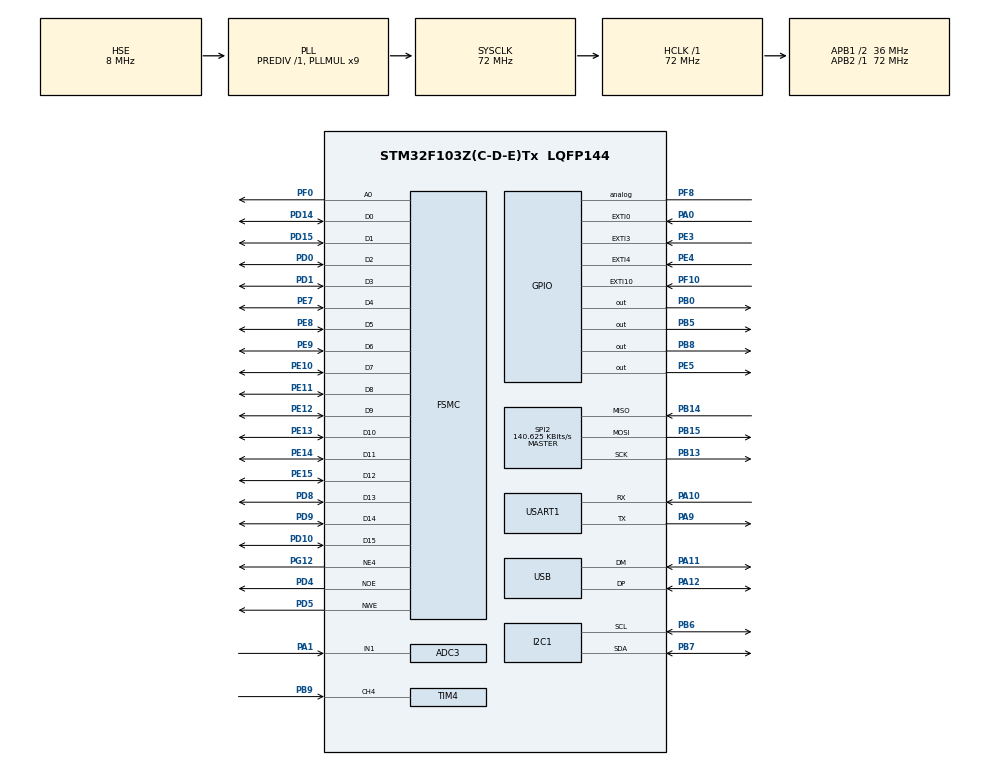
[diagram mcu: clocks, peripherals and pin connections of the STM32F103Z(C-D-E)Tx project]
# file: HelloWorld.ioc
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ADC1.Channel-5\#ChannelRegularConversion=ADC_CHANNEL_TEMPSENSOR
ADC1.NbrOfConversionFlag=1
ADC1.Rank-5\#ChannelRegularConversion=1
ADC1.SamplingTime-5\#ChannelRegularConversion=ADC_SAMPLETIME_1CYCLE_5
ADC1.master=1
ADC3.Channel-2\#ChannelRegularConversion=ADC_CHANNEL_1
ADC3.ContinuousConvMode=ENABLE
ADC3.NbrOfConversionFlag=1
ADC3.Rank-2\#ChannelRegularConversion=1
ADC3.SamplingTime-2\#ChannelRegularConversion=ADC_SAMPLETIME_1CYCLE_5
FATFS._FS_REENTRANT=0
FREERTOS.Tasks01=defaultTask,24,128,StartDefaultTask,Default,NULL,Dynamic,NULL,NULL
FREERTOS.configCHECK_FOR_STACK_OVERFLOW=2
FREERTOS.configTOTAL_HEAP_SIZE=32768
FREERTOS.configUSE_IDLE_HOOK=1
FREERTOS.configUSE_MALLOC_FAILED_HOOK=1
FREERTOS.configUSE_NEWLIB_REENTRANT=1
FREERTOS.configUSE_STATS_FORMATTING_FUNCTIONS=1
IWDG.Prescaler=IWDG_PRESCALER_256
IWDG.Reload=4095
Mcu.Family=STM32F1
Mcu.Name=STM32F103Z(C-D-E)Tx
Mcu.Package=LQFP144
NVIC.EXTI0_IRQn=true\:6\:0\:true\:false\:true\:true\:true\:true\:true
NVIC.EXTI15_10_IRQn=true\:6\:0\:true\:false\:true\:true\:true\:true\:true
NVIC.EXTI3_IRQn=true\:7\:0\:true\:false\:true\:true\:true\:true\:true
NVIC.EXTI4_IRQn=true\:8\:0\:true\:false\:true\:true\:true\:true\:true
NVIC.PriorityGroup=NVIC_PRIORITYGROUP_4
NVIC.TIM4_IRQn=true\:6\:0\:true\:false\:true\:true\:true\:true\:true
NVIC.TIM7_IRQn=true\:15\:0\:false\:false\:true\:false\:false\:true\:true
NVIC.TimeBase=TIM7_IRQn
NVIC.TimeBaseIP=TIM7
NVIC.USART1_IRQn=true\:8\:0\:true\:false\:true\:true\:true\:true\:true
NVIC.USB_LP_CAN1_RX0_IRQn=true\:5\:0\:false\:false\:true\:true\:false\:true\:true
OSC_IN.Mode=HSE-External-Oscillator
OSC_IN.Signal=RCC_OSC_IN
OSC_OUT.Mode=HSE-External-Oscillator
OSC_OUT.Signal=RCC_OSC_OUT
PA0-WKUP.GPIO_PuPd=GPIO_PULLDOWN
PA0-WKUP.Signal=GPXTI0
PA1.Signal=ADCx_IN1
PA10.Mode=Asynchronous
PA10.Signal=USART1_RX
PA11.Mode=Device
PA11.Signal=USB_DM
PA12.Mode=Device
PA12.Signal=USB_DP
PA13.Mode=JTAG_4_pins
PA13.Signal=SYS_JTMS-SWDIO
PA14.Mode=JTAG_4_pins
PA14.Signal=SYS_JTCK-SWCLK
PA15.Mode=JTAG_4_pins
PA15.Signal=SYS_JTDI
PA9.Mode=Asynchronous
PA9.Signal=USART1_TX
PB0.Signal=GPIO_Output
PB13.Mode=Full_Duplex_Master
PB13.Signal=SPI2_SCK
PB14.Mode=Full_Duplex_Master
PB14.Signal=SPI2_MISO
PB15.Mode=Full_Duplex_Master
PB15.Signal=SPI2_MOSI
PB3.Mode=JTAG_4_pins
PB3.Signal=SYS_JTDO-TRACESWO
PB5.Signal=GPIO_Output
PB6.Mode=I2C
PB6.Signal=I2C1_SCL
PB7.Mode=I2C
PB7.Signal=I2C1_SDA
PB8.Signal=GPIO_Output
PB9.GPIO_Mode=GPIO_MODE_INPUT
PB9.GPIO_PuPd=GPIO_PULLUP
PB9.Signal=S_TIM4_CH4
PC14-OSC32_IN.Mode=LSE-External-Oscillator
PC14-OSC32_IN.Signal=RCC_OSC32_IN
PC15-OSC32_OUT.Mode=LSE-External-Oscillator
PC15-OSC32_OUT.Signal=RCC_OSC32_OUT
PD0.Signal=FSMC_D2_DA2
PD1.Signal=FSMC_D3_DA3
PD10.Signal=FSMC_D15_DA15
PD14.Signal=FSMC_D0_DA0
PD15.Signal=FSMC_D1_DA1
PD4.Signal=FSMC_NOE
PD5.Signal=FSMC_NWE
PD8.Signal=FSMC_D13_DA13
PD9.Signal=FSMC_D14_DA14
PE10.Signal=FSMC_D7_DA7
PE11.Signal=FSMC_D8_DA8
PE12.Signal=FSMC_D9_DA9
PE13.Signal=FSMC_D10_DA10
PE14.Signal=FSMC_D11_DA11
PE15.Signal=FSMC_D12_DA12
PE3.GPIO_ModeDefaultEXTI=GPIO_MODE_IT_FALLING
PE3.GPIO_PuPd=GPIO_PULLUP
PE3.Signal=GPXTI3
PE4.GPIO_ModeDefaultEXTI=GPIO_MODE_IT_FALLING
PE4.GPIO_PuPd=GPIO_PULLUP
PE4.Signal=GPXTI4
PE5.Signal=GPIO_Output
PE7.Signal=FSMC_D4_DA4
PE8.Signal=FSMC_D5_DA5
PE9.Signal=FSMC_D6_DA6
PF0.Signal=FSMC_A0
PF10.GPIO_ModeDefaultEXTI=GPIO_MODE_IT_FALLING
PF10.GPIO_PuPd=GPIO_PULLUP
PF10.Signal=GPXTI10
PF8.Signal=GPIO_Analog
PG12.Mode=NorPsramChipSelect4_1
PG12.Signal=FSMC_NE4
ProjectManager.HeapSize=0x200
ProjectManager.StackSize=0x400
ProjectManager.TargetToolchain=STM32CubeIDE
RCC.ADCPresc=RCC_ADCPCLK2_DIV6
RCC.AHBFreq_Value=72000000
RCC.APB1CLKDivider=RCC_HCLK_DIV2
RCC.APB1Freq_Value=36000000
RCC.APB1TimFreq_Value=72000000
RCC.APB2Freq_Value=72000000
RCC.APB2TimFreq_Value=72000000
RCC.EnbaleCSS=true
RCC.HCLKFreq_Value=72000000
RCC.PLLMUL=RCC_PLL_MUL9
RCC.PLLSourceVirtual=RCC_PLLSOURCE_HSE
RCC.RTCClockSelection=RCC_RTCCLKSOURCE_LSE
RCC.SYSCLKFreq_VALUE=72000000
RCC.SYSCLKSource=RCC_SYSCLKSOURCE_PLLCLK
RCC.USBFreq_Value=48000000
RCC.USBPrescaler=RCC_USBCLKSOURCE_PLL_DIV1_5
RTC.Format=RTC_FORMAT_BIN
SH.ADCx_IN1.0=ADC3_IN1,IN1
SH.FSMC_A0.0=FSMC_A0,A0_1
SH.FSMC_D0_DA0.0=FSMC_D0,16b-d1
SH.FSMC_D10_DA10.0=FSMC_D10,16b-d1
SH.FSMC_D11_DA11.0=FSMC_D11,16b-d1
SH.FSMC_D12_DA12.0=FSMC_D12,16b-d1
SH.FSMC_D13_DA13.0=FSMC_D13,16b-d1
SH.FSMC_D14_DA14.0=FSMC_D14,16b-d1
SH.FSMC_D15_DA15.0=FSMC_D15,16b-d1
SH.FSMC_D1_DA1.0=FSMC_D1,16b-d1
SH.FSMC_D2_DA2.0=FSMC_D2,16b-d1
SH.FSMC_D3_DA3.0=FSMC_D3,16b-d1
SH.FSMC_D4_DA4.0=FSMC_D4,16b-d1
SH.FSMC_D5_DA5.0=FSMC_D5,16b-d1
SH.FSMC_D6_DA6.0=FSMC_D6,16b-d1
SH.FSMC_D7_DA7.0=FSMC_D7,16b-d1
SH.FSMC_D8_DA8.0=FSMC_D8,16b-d1
SH.FSMC_D9_DA9.0=FSMC_D9,16b-d1
SH.FSMC_NOE.0=FSMC_NOE,Lcd1
SH.FSMC_NWE.0=FSMC_NWE,Lcd1
SH.S_TIM4_CH4.0=TIM4_CH4,Input_Capture4_from_TI4
SPI2.BaudRatePrescaler=SPI_BAUDRATEPRESCALER_256
SPI2.CLKPhase=SPI_PHASE_2EDGE
SPI2.CLKPolarity=SPI_POLARITY_HIGH
SPI2.CRCCalculation=SPI_CRCCALCULATION_DISABLE
SPI2.CalculateBaudRate=140.625 KBits/s
SPI2.Direction=SPI_DIRECTION_2LINES
SPI2.Mode=SPI_MODE_MASTER
SPI2.VirtualType=VM_MASTER
TIM2.Prescaler=72 - 1
TIM4.AutoReloadPreload=TIM_AUTORELOAD_PRELOAD_DISABLE
TIM4.Channel-Input_Capture4_from_TI4=TIM_CHANNEL_4
TIM4.ICFilter_CH4=0x03
TIM4.Period=10000
TIM4.Prescaler=72 - 1
USART1.Parity=PARITY_NONE
USART1.VirtualMode=VM_ASYNC
USART1.WordLength=WORDLENGTH_8B
USB_DEVICE.CLASS_NAME_FS=MSC
USB_DEVICE.PRODUCT_STRING_MSC_FS=STM32 Mass Storage
USB_DEVICE.USBD_DEBUG_LEVEL=0
USB_DEVICE.VirtualMode=Msc
USB_DEVICE.VirtualModeFS=Msc_FS
VP_ADC1_TempSens_Input.Mode=IN-TempSens
VP_FATFS_VS_Generic.Mode=User_defined
VP_FREERTOS_VS_CMSIS_V2.Mode=CMSIS_V2
VP_IWDG_VS_IWDG.Mode=IWDG_Activate
VP_RTC_VS_RTC_Activate.Mode=RTC_Enabled
VP_SYS_VS_tim7.Mode=TIM7
VP_TIM2_VS_ClockSourceINT.Mode=Internal
VP_TIM4_VS_ClockSourceINT.Mode=Internal
VP_USB_DEVICE_VS_USB_DEVICE_MSC_FS.Mode=MSC_FS
board=custom

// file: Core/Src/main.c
/* USER CODE BEGIN Header */
/**
 ******************************************************************************
 * @file           : main.c
 * @brief          : Main program body
 ******************************************************************************
 * @attention
 *
 * Copyright (c) 2025 STMicroelectronics.
 * All rights reserved.
 *
 * This software is licensed under terms that can be found in the LICENSE file
 * in the root directory of this software component.
 * If no LICENSE file comes with this software, it is provided AS-IS.
 *
 ******************************************************************************
 */
/* USER CODE END Header */
#include "main.h"
#include "cmsis_os.h"
#include "fatfs.h"
#include "usb_device.h"

/* USER CODE BEGIN Includes */
#include "FreeRTOS.h"
#include "task.h"
#include "cmsis_os.h"
/* USER CODE END Includes */

/* USER CODE BEGIN PTD */
typedef enum {
	LED_OFF, LED_ON, LED_BLINK
} LedMode_t;

volatile LedMode_t led_mode = LED_OFF;
uint32_t last_tick = 0;

extern uint8_t g_remote_sta;

osTimerId_t timer_id;
osTimerAttr_t timer_attr = {
  .name = "myTimer"
};
osThreadId_t timerCommandTaskHandle; // 处理定时器命令的任务句柄

// 定时器回调函数
void TimerCallback(void *argument) {
  HAL_GPIO_TogglePin(GPIOE, GPIO_PIN_5);
}

uint32_t last_debounce_time = 0;

/* USER CODE END PTD */

/* USER CODE BEGIN PD */
#define LED_PIN GPIO_PIN_5      // PE5 (用户控制LED)
#define LED_PORT GPIOE
#define BTN_PIN1 GPIO_PIN_3     // PE3 (按键1)
#define BTN_PIN2 GPIO_PIN_4     // PE4 (按键2)
#define BTN_PORT GPIOE

#define BTN_PIN0 GPIO_PIN_0     // PA0 (按键0)
#define BTN_PORT0 GPIOA

#define PB5_LED_PIN GPIO_PIN_5  // PB5 (�??????机常亮LED)
#define PB5_LED_PORT GPIOB
#define BEEP_PIN GPIO_PIN_8
#define BEEP_PORT GPIOB
#define BEEP_SHORT_BEEP_TIME 100  // 蜂鸣时长(ms)

/* USER CODE END PD */

/* USER CODE BEGIN PM */
extern osThreadId_t remoteTaskHandle;
extern const osThreadAttr_t remoteTask_attributes;

extern osThreadId_t dogTaskHandle;
extern const osThreadAttr_t dogTask_attributes;

extern osThreadId_t infoTaskHandle;
extern const osThreadAttr_t infoTask_attributes;

extern osThreadId_t touchTaskHandle;
extern const osThreadAttr_t touchTask_attributes;

extern osThreadId_t uartTaskHandle;
extern const osThreadAttr_t uartTask_attributes;

extern osThreadId_t saveTaskHandle;
extern const osThreadAttr_t saveTask_attributes;

extern osThreadId_t monitorTaskHandle;
extern const osThreadAttr_t monitorTask_attributes;

extern osThreadId_t idleTaskHandle;
extern const osThreadAttr_t idleTask_attributes;

extern uint8_t tx_e3;
extern uint8_t tx_e4;
extern uint8_t tx_a0;
extern volatile uint8_t tx_request_byte;

extern uint8_t close_red;  // 改为全局变量
extern char strrand[16];

extern void dogTask(void *argument);
extern void infoTask(void *argument);
extern void touchTask(void *argument);
extern void uartTask(void *argument);
extern void RemoteTask(void *argument);
extern void Set_RTC_DateTime(uint8_t year, uint8_t month, uint8_t day,
		uint8_t hour, uint8_t minute, uint8_t second);
extern void Get_RTC_DateTime(uint8_t *year, uint8_t *month, uint8_t *day,
		uint8_t *hour, uint8_t *minute, uint8_t *second);
extern void saveTask(void *argument);
extern void monitorTask(void *argument);
extern void IdleSimTask(void *argument);
extern osMessageQueueId_t uartQueue;
extern osSemaphoreId_t remoteSemaphore;
extern osSemaphoreId_t touchSem;
extern volatile uint8_t adc_data_ready;
/* USER CODE END PM */

ADC_HandleTypeDef hadc1;
ADC_HandleTypeDef hadc3;

I2C_HandleTypeDef hi2c1;

IWDG_HandleTypeDef hiwdg;

RTC_HandleTypeDef hrtc;

SPI_HandleTypeDef hspi2;

TIM_HandleTypeDef htim2;
TIM_HandleTypeDef htim4;

UART_HandleTypeDef huart1;

SRAM_HandleTypeDef hsram1;

/* Definitions for defaultTask */
osThreadId_t defaultTaskHandle;
const osThreadAttr_t defaultTask_attributes = {
  .name = "defaultTask",
  .stack_size = 128 * 4,
  .priority = (osPriority_t) osPriorityNormal,
};

void SystemClock_Config(void);
static void MX_GPIO_Init(void);
static void MX_RTC_Init(void);
static void MX_USART1_UART_Init(void);
static void MX_FSMC_Init(void);
static void MX_IWDG_Init(void);
static void MX_ADC3_Init(void);
static void MX_I2C1_Init(void);
static void MX_SPI2_Init(void);
static void MX_TIM4_Init(void);
static void MX_TIM2_Init(void);
static void MX_ADC1_Init(void);
void StartDefaultTask(void *argument);

/* USER CODE BEGIN PFP */
void WHIRLPOOL_add(const unsigned char *source, unsigned __int32 sourceBytes,
		WHIRLPOOL_CTX *const ctx);
void WHIRLPOOL_finalize(WHIRLPOOL_CTX *const ctx, unsigned char *result);
void WHIRLPOOL_init(WHIRLPOOL_CTX *const ctx);

/* USER CODE END PFP */

/* USER CODE BEGIN 0 */
#include "FreeRTOS.h"
#include "task.h"

void display_ram_info(void) {
	// 获取当前空闲堆内存
	size_t free_heap = xPortGetFreeHeapSize();

	// 获取历史最小空闲堆内存（需要configUSE_MALLOC_FAILED_HOOK=1）
	// size_t min_ever_free_heap = xPortGetMinimumEverFreeHeapSize();

	char lcd_buffer[64];
	sprintf(lcd_buffer, "Heap:%lu/%lu bytes", (unsigned long) free_heap,
			(unsigned long) configTOTAL_HEAP_SIZE);

	taskENTER_CRITICAL();
	lcd_show_string(10, 150, 240, 16, 16, lcd_buffer, RED);
	taskEXIT_CRITICAL();
}
void generate_random_string(char *buf, int len) {
	for (int i = 0; i < len; i++) {
		buf[i] = (rand() % (0x7E - 0x21 + 1)) + 0x21; // 可打印ASCII
	}
	buf[len] = '\0'; // 字符串结束符
}

// 在合适的位置添加中断处理函数

void HAL_GPIO_EXTI_Callback(uint16_t GPIO_Pin) {
	static uint32_t last_debounce_time = 0;
	uint32_t current_tick = HAL_GetTick();

	// 处理触摸屏 PEN（不防抖）
	if (GPIO_Pin == GPIO_PIN_10)  // PF10
	{
		BaseType_t xHigherPriorityTaskWoken = pdFALSE;
		osSemaphoreRelease(touchSem);   // 通知任务去处理触摸
		portYIELD_FROM_ISR(xHigherPriorityTaskWoken);
		return; // 触摸屏处理完成，直接返回
	}

	// 处理按钮（带防抖）
	if ((current_tick - last_debounce_time) > 150)  // 防抖
			{
		last_debounce_time = current_tick;

		if (GPIO_Pin == BTN_PIN1) {
			uart_msg_t msg = { 1, 0xE3 }; // type=1表示TX
			osThreadFlagsSet(timerCommandTaskHandle, 0x0001);
			osMessageQueuePut(uartQueue, &msg, 0, 0);

			if (led_mode != LED_ON) {
				led_mode = LED_ON;
				HAL_GPIO_WritePin(LED_PORT, LED_PIN, GPIO_PIN_SET);
			} else {
				led_mode = LED_OFF;
				HAL_GPIO_WritePin(LED_PORT, LED_PIN, GPIO_PIN_RESET);
			}
		} else if (GPIO_Pin == BTN_PIN2) {
			uart_msg_t msg = { 1, 0xE4 };
			osThreadFlagsSet(timerCommandTaskHandle, 0x0001);
			osMessageQueuePut(uartQueue, &msg, 0, 0);
			led_mode = LED_BLINK;
		} else if (GPIO_Pin == BTN_PIN0) {
			uart_msg_t msg = { 1, 0xA0 };
			osMessageQueuePut(uartQueue, &msg, 0, 0);
			HAL_GPIO_TogglePin(GPIOB, GPIO_PIN_0);
		}
	}
}

// 添加UART接收完成回调
void HAL_UART_RxCpltCallback(UART_HandleTypeDef *huart) {
	if (huart->Instance == USART1) {
		uart_msg_t msg = { 0, close_red }; // type=0表示RX
		osMessageQueuePut(uartQueue, &msg, 0, 0);
		HAL_UART_Receive_IT(&huart1, &close_red, 1);
	}
}
#include "stdarg.h"
void uart_printf(const char *fmt, ...)
{
    char buffer[128];
    va_list args;
    va_start(args, fmt);
    int len = vsnprintf(buffer, sizeof(buffer), fmt, args);
    va_end(args);

    if (len > 0)
    {
        HAL_UART_Transmit(&huart1, (uint8_t*)buffer, len, HAL_MAX_DELAY);
    }
}

void rtc_write_bkr(uint32_t bkrx, uint16_t data) {
	HAL_PWR_EnableBkUpAccess();
	HAL_RTCEx_BKUPWrite(&hrtc, bkrx, data);
}

uint16_t rtc_read_bkr(uint32_t bkrx) {
	HAL_PWR_EnableBkUpAccess();
	uint32_t temp = 0;
	temp = HAL_RTCEx_BKUPRead(&hrtc, bkrx);
	return (uint16_t) temp;
}

/* USER CODE END 0 */

int main(void)
{

  /* USER CODE BEGIN 1 */
	SCB->VTOR = 0x08020000;
	uint8_t lcd_id[12];

  /* USER CODE END 1 */

  /* MCU Configuration--------------------------------------------------------*/

  /* Reset of all peripherals, Initializes the Flash interface and the Systick. */
  HAL_Init();

  /* Configure the system clock */
  SystemClock_Config();

  /* Initialize all configured peripherals */
  MX_GPIO_Init();
  MX_RTC_Init();
  MX_USART1_UART_Init();
  MX_FSMC_Init();
  MX_IWDG_Init();
  MX_ADC3_Init();
  MX_I2C1_Init();
  MX_SPI2_Init();
  MX_TIM4_Init();
  MX_TIM2_Init();
  MX_ADC1_Init();
  MX_FATFS_Init();
  /* USER CODE BEGIN 2 */
	//rtc_write_bkr(1, 17134);

	uint16_t rtc1data = rtc_read_bkr(1);
	lcd_init();
	at24cxx_init();
	norflash_init();
	const uint8_t g_text_buf[] = { "It's a good sloth!" };
#define TEXT_SIZE       sizeof(g_text_buf)
	uint8_t datatemp[TEXT_SIZE];

	//srand(TIM2->CNT);
	Set_RTC_DateTime(0x37, 8, 0x0c, 0x13, 0x0d, 0x1e);

	g_point_color = BLUE;
	sprintf((char*) lcd_id, "LCD ID:%04X", lcddev.id); /* ½«LCD ID´òÓ¡µ½lcd_idÊý×é */
	lcd_clear(BLUE);
	lcd_show_num(120, 10, rtc1data, 5, 16, YELLOW);
	//lcd_show_string(10, 130, 240, 16, 16, (char *)lcd_id, RED); /* ÏÔÊ¾LCD ID */
	lcd_show_string(10, 190, 240, 16, 16, "LSENS VAL:", BLUE);
	HAL_IWDG_Refresh(&hiwdg);

	//lcd_show_string(10, 210, 200, 16, 16, "Start Write....", RED);
	//at24cxx_write(0, (uint8_t *)g_text_buf, TEXT_SIZE);

	//lcd_show_string(10, 210, 200, 16, 16, "24C02 Write Finished!", RED);   /* ÌáÊ¾´«ËÍÍê³É */

	at24cxx_read(0, datatemp, TEXT_SIZE);
	lcd_show_string(10, 230, 200, 16, 16, "EEPROM Data Readed Is:", RED);
	lcd_show_string(10, 250, 200, 16, 16, (char*) datatemp, RED);

	HAL_IWDG_Refresh(&hiwdg);

	tp_dev.init();
  /* USER CODE END 2 */

  /* Init scheduler */
  osKernelInitialize();

  /* USER CODE BEGIN RTOS_SEMAPHORES */
	/* add semaphores, ... */
	remoteSemaphore = osSemaphoreNew(1, 0, NULL);
	touchSem = osSemaphoreNew(1, 0, NULL);
  /* USER CODE END RTOS_SEMAPHORES */

  /* USER CODE BEGIN RTOS_TIMERS */
	 timer_id = osTimerNew(TimerCallback, osTimerPeriodic, NULL, &timer_attr);
	 osTimerStart(timer_id, 500);
	/* start timers, add new ones, ... */
  /* USER CODE END RTOS_TIMERS */

  /* USER CODE BEGIN RTOS_QUEUES */
	/* add queues, ... */
	uartQueue = osMessageQueueNew(10, sizeof(uart_msg_t), NULL);

  /* USER CODE END RTOS_QUEUES */

  /* Create the thread(s) */
  /* creation of defaultTask */
  defaultTaskHandle = osThreadNew(StartDefaultTask, NULL, &defaultTask_attributes);

  /* USER CODE BEGIN RTOS_THREADS */
	/* add threads, ... */
	dogTaskHandle = osThreadNew(dogTask, NULL, &dogTask_attributes);
	remoteTaskHandle = osThreadNew(RemoteTask, NULL, &remoteTask_attributes);
	infoTaskHandle = osThreadNew(infoTask, NULL, &infoTask_attributes);
	touchTaskHandle = osThreadNew(touchTask, NULL, &touchTask_attributes);
	uartTaskHandle = osThreadNew(uartTask, NULL, &uartTask_attributes);
	saveTaskHandle = osThreadNew(saveTask, NULL, &saveTask_attributes);
	monitorTaskHandle = osThreadNew(monitorTask, NULL, &monitorTask_attributes);
	//idleTaskHandle = osThreadNew(IdleSimTask, NULL, &monitorTask_attributes);

  /* USER CODE END RTOS_THREADS */

  /* Start scheduler */
  osKernelStart();

  /* We should never get here as control is now taken by the scheduler */

  /* Infinite loop */
	while (1) {

	}
}

void SystemClock_Config(void)
{
  RCC_OscInitTypeDef RCC_OscInitStruct = {0};
  RCC_ClkInitTypeDef RCC_ClkInitStruct = {0};
  RCC_PeriphCLKInitTypeDef PeriphClkInit = {0};

  /** Initializes the RCC Oscillators according to the specified parameters
  * in the RCC_OscInitTypeDef structure.
  */
  RCC_OscInitStruct.OscillatorType = RCC_OSCILLATORTYPE_LSI|RCC_OSCILLATORTYPE_HSE
                              |RCC_OSCILLATORTYPE_LSE;
  RCC_OscInitStruct.HSEState = RCC_HSE_ON;
  RCC_OscInitStruct.HSEPredivValue = RCC_HSE_PREDIV_DIV1;
  RCC_OscInitStruct.LSEState = RCC_LSE_ON;
  RCC_OscInitStruct.HSIState = RCC_HSI_ON;
  RCC_OscInitStruct.LSIState = RCC_LSI_ON;
  RCC_OscInitStruct.PLL.PLLState = RCC_PLL_ON;
  RCC_OscInitStruct.PLL.PLLSource = RCC_PLLSOURCE_HSE;
  RCC_OscInitStruct.PLL.PLLMUL = RCC_PLL_MUL9;
  if (HAL_RCC_OscConfig(&RCC_OscInitStruct) != HAL_OK)
  {
    Error_Handler();
  }

  /** Initializes the CPU, AHB and APB buses clocks
  */
  RCC_ClkInitStruct.ClockType = RCC_CLOCKTYPE_HCLK|RCC_CLOCKTYPE_SYSCLK
                              |RCC_CLOCKTYPE_PCLK1|RCC_CLOCKTYPE_PCLK2;
  RCC_ClkInitStruct.SYSCLKSource = RCC_SYSCLKSOURCE_PLLCLK;
  RCC_ClkInitStruct.AHBCLKDivider = RCC_SYSCLK_DIV1;
  RCC_ClkInitStruct.APB1CLKDivider = RCC_HCLK_DIV2;
  RCC_ClkInitStruct.APB2CLKDivider = RCC_HCLK_DIV1;

  if (HAL_RCC_ClockConfig(&RCC_ClkInitStruct, FLASH_LATENCY_2) != HAL_OK)
  {
    Error_Handler();
  }
  PeriphClkInit.PeriphClockSelection = RCC_PERIPHCLK_RTC|RCC_PERIPHCLK_ADC
                              |RCC_PERIPHCLK_USB;
  PeriphClkInit.RTCClockSelection = RCC_RTCCLKSOURCE_LSE;
  PeriphClkInit.AdcClockSelection = RCC_ADCPCLK2_DIV6;
  PeriphClkInit.UsbClockSelection = RCC_USBCLKSOURCE_PLL_DIV1_5;
  if (HAL_RCCEx_PeriphCLKConfig(&PeriphClkInit) != HAL_OK)
  {
    Error_Handler();
  }

  /** Enables the Clock Security System
  */
  HAL_RCC_EnableCSS();
}

static void MX_ADC1_Init(void)
{

  ADC_ChannelConfTypeDef sConfig = {0};

  /** Common config
  */
  hadc1.Instance = ADC1;
  hadc1.Init.ScanConvMode = ADC_SCAN_DISABLE;
  hadc1.Init.ContinuousConvMode = DISABLE;
  hadc1.Init.DiscontinuousConvMode = DISABLE;
  hadc1.Init.ExternalTrigConv = ADC_SOFTWARE_START;
  hadc1.Init.DataAlign = ADC_DATAALIGN_RIGHT;
  hadc1.Init.NbrOfConversion = 1;
  if (HAL_ADC_Init(&hadc1) != HAL_OK)
  {
    Error_Handler();
  }

  /** Configure Regular Channel
  */
  sConfig.Channel = ADC_CHANNEL_TEMPSENSOR;
  sConfig.Rank = ADC_REGULAR_RANK_1;
  sConfig.SamplingTime = ADC_SAMPLETIME_1CYCLE_5;
  if (HAL_ADC_ConfigChannel(&hadc1, &sConfig) != HAL_OK)
  {
    Error_Handler();
  }
  /* USER CODE BEGIN ADC1_Init 2 */
	//ADC->CCR |= ADC_CCR_TSVREFE;
  /* USER CODE END ADC1_Init 2 */

}

static void MX_ADC3_Init(void)
{

  ADC_ChannelConfTypeDef sConfig = {0};

  /** Common config
  */
  hadc3.Instance = ADC3;
  hadc3.Init.ScanConvMode = ADC_SCAN_DISABLE;
  hadc3.Init.ContinuousConvMode = ENABLE;
  hadc3.Init.DiscontinuousConvMode = DISABLE;
  hadc3.Init.ExternalTrigConv = ADC_SOFTWARE_START;
  hadc3.Init.DataAlign = ADC_DATAALIGN_RIGHT;
  hadc3.Init.NbrOfConversion = 1;
  if (HAL_ADC_Init(&hadc3) != HAL_OK)
  {
    Error_Handler();
  }

  /** Configure Regular Channel
  */
  sConfig.Channel = ADC_CHANNEL_1;
  sConfig.Rank = ADC_REGULAR_RANK_1;
  sConfig.SamplingTime = ADC_SAMPLETIME_1CYCLE_5;
  if (HAL_ADC_ConfigChannel(&hadc3, &sConfig) != HAL_OK)
  {
    Error_Handler();
  }

}

static void MX_I2C1_Init(void)
{

  hi2c1.Instance = I2C1;
  hi2c1.Init.ClockSpeed = 100000;
  hi2c1.Init.DutyCycle = I2C_DUTYCYCLE_2;
  hi2c1.Init.OwnAddress1 = 0;
  hi2c1.Init.AddressingMode = I2C_ADDRESSINGMODE_7BIT;
  hi2c1.Init.DualAddressMode = I2C_DUALADDRESS_DISABLE;
  hi2c1.Init.OwnAddress2 = 0;
  hi2c1.Init.GeneralCallMode = I2C_GENERALCALL_DISABLE;
  hi2c1.Init.NoStretchMode = I2C_NOSTRETCH_DISABLE;
  if (HAL_I2C_Init(&hi2c1) != HAL_OK)
  {
    Error_Handler();
  }
  /* USER CODE BEGIN I2C1_Init 2 */
  /* USER CODE BEGIN I2C1_Init 2 */
  // 强制启用I2C中断
  /* USER CODE END I2C1_Init 2 */

}

static void MX_IWDG_Init(void)
{

  hiwdg.Instance = IWDG;
  hiwdg.Init.Prescaler = IWDG_PRESCALER_256;
  hiwdg.Init.Reload = 4095;
  if (HAL_IWDG_Init(&hiwdg) != HAL_OK)
  {
    Error_Handler();
  }

}

static void MX_RTC_Init(void)
{

  /** Initialize RTC Only
  */
  hrtc.Instance = RTC;
  hrtc.Init.AsynchPrediv = RTC_AUTO_1_SECOND;
  hrtc.Init.OutPut = RTC_OUTPUTSOURCE_ALARM;
  if (HAL_RTC_Init(&hrtc) != HAL_OK)
  {
    Error_Handler();
  }

}

static void MX_SPI2_Init(void)
{

  /* SPI2 parameter configuration*/
  hspi2.Instance = SPI2;
  hspi2.Init.Mode = SPI_MODE_MASTER;
  hspi2.Init.Direction = SPI_DIRECTION_2LINES;
  hspi2.Init.DataSize = SPI_DATASIZE_8BIT;
  hspi2.Init.CLKPolarity = SPI_POLARITY_HIGH;
  hspi2.Init.CLKPhase = SPI_PHASE_2EDGE;
  hspi2.Init.NSS = SPI_NSS_SOFT;
  hspi2.Init.BaudRatePrescaler = SPI_BAUDRATEPRESCALER_256;
  hspi2.Init.FirstBit = SPI_FIRSTBIT_MSB;
  hspi2.Init.TIMode = SPI_TIMODE_DISABLE;
  hspi2.Init.CRCCalculation = SPI_CRCCALCULATION_DISABLE;
  hspi2.Init.CRCPolynomial = 10;
  if (HAL_SPI_Init(&hspi2) != HAL_OK)
  {
    Error_Handler();
  }

}

static void MX_TIM2_Init(void)
{

  TIM_ClockConfigTypeDef sClockSourceConfig = {0};
  TIM_MasterConfigTypeDef sMasterConfig = {0};

  htim2.Instance = TIM2;
  htim2.Init.Prescaler = 72 - 1;
  htim2.Init.CounterMode = TIM_COUNTERMODE_UP;
  htim2.Init.Period = 65535;
  htim2.Init.ClockDivision = TIM_CLOCKDIVISION_DIV1;
  htim2.Init.AutoReloadPreload = TIM_AUTORELOAD_PRELOAD_DISABLE;
  if (HAL_TIM_Base_Init(&htim2) != HAL_OK)
  {
    Error_Handler();
  }
  sClockSourceConfig.ClockSource = TIM_CLOCKSOURCE_INTERNAL;
  if (HAL_TIM_ConfigClockSource(&htim2, &sClockSourceConfig) != HAL_OK)
  {
    Error_Handler();
  }
  sMasterConfig.MasterOutputTrigger = TIM_TRGO_RESET;
  sMasterConfig.MasterSlaveMode = TIM_MASTERSLAVEMODE_DISABLE;
  if (HAL_TIMEx_MasterConfigSynchronization(&htim2, &sMasterConfig) != HAL_OK)
  {
    Error_Handler();
  }
  /* USER CODE BEGIN TIM2_Init 2 */
	__HAL_RCC_TIM2_CLK_ENABLE();

	//TIM_HandleTypeDef htim2;
	htim2.Instance = TIM2;
	htim2.Init.Prescaler = 72 - 1;  // 1 MHz, 1 us per tick
	htim2.Init.CounterMode = TIM_COUNTERMODE_UP;
	htim2.Init.Period = 0xFFFF;
	htim2.Init.ClockDivision = TIM_CLOCKDIVISION_DIV1;
	HAL_TIM_Base_Init(&htim2);

	HAL_TIM_Base_Start(&htim2);

  /* USER CODE END TIM2_Init 2 */

}

static void MX_TIM4_Init(void)
{

  TIM_ClockConfigTypeDef sClockSourceConfig = {0};
  TIM_MasterConfigTypeDef sMasterConfig = {0};
  TIM_IC_InitTypeDef sConfigIC = {0};

  htim4.Instance = TIM4;
  htim4.Init.Prescaler = 72 - 1;
  htim4.Init.CounterMode = TIM_COUNTERMODE_UP;
  htim4.Init.Period = 10000;
  htim4.Init.ClockDivision = TIM_CLOCKDIVISION_DIV1;
  htim4.Init.AutoReloadPreload = TIM_AUTORELOAD_PRELOAD_DISABLE;
  if (HAL_TIM_Base_Init(&htim4) != HAL_OK)
  {
    Error_Handler();
  }
  sClockSourceConfig.ClockSource = TIM_CLOCKSOURCE_INTERNAL;
  if (HAL_TIM_ConfigClockSource(&htim4, &sClockSourceConfig) != HAL_OK)
  {
    Error_Handler();
  }
  if (HAL_TIM_IC_Init(&htim4) != HAL_OK)
  {
    Error_Handler();
  }
  sMasterConfig.MasterOutputTrigger = TIM_TRGO_RESET;
  sMasterConfig.MasterSlaveMode = TIM_MASTERSLAVEMODE_DISABLE;
  if (HAL_TIMEx_MasterConfigSynchronization(&htim4, &sMasterConfig) != HAL_OK)
  {
    Error_Handler();
  }
  sConfigIC.ICPolarity = TIM_INPUTCHANNELPOLARITY_RISING;
  sConfigIC.ICSelection = TIM_ICSELECTION_DIRECTTI;
  sConfigIC.ICPrescaler = TIM_ICPSC_DIV1;
  sConfigIC.ICFilter = 0x03;
  if (HAL_TIM_IC_ConfigChannel(&htim4, &sConfigIC, TIM_CHANNEL_4) != HAL_OK)
  {
    Error_Handler();
  }
  /* USER CODE BEGIN TIM4_Init 2 */
	HAL_TIM_IC_Start_IT(&htim4, REMOTE_IN_TIMX_CHY);
	__HAL_TIM_ENABLE_IT(&htim4, TIM_IT_UPDATE);

  /* USER CODE END TIM4_Init 2 */

}

static void MX_USART1_UART_Init(void)
{

  huart1.Instance = USART1;
  huart1.Init.BaudRate = 115200;
  huart1.Init.WordLength = UART_WORDLENGTH_8B;
  huart1.Init.StopBits = UART_STOPBITS_1;
  huart1.Init.Parity = UART_PARITY_NONE;
  huart1.Init.Mode = UART_MODE_TX_RX;
  huart1.Init.HwFlowCtl = UART_HWCONTROL_NONE;
  huart1.Init.OverSampling = UART_OVERSAMPLING_16;
  if (HAL_UART_Init(&huart1) != HAL_OK)
  {
    Error_Handler();
  }

}

static void MX_GPIO_Init(void)
{
  GPIO_InitTypeDef GPIO_InitStruct = {0};
  /* USER CODE BEGIN MX_GPIO_Init_1 */
	__HAL_RCC_AFIO_CLK_ENABLE();
  /* USER CODE END MX_GPIO_Init_1 */

  /* GPIO Ports Clock Enable */
  __HAL_RCC_GPIOE_CLK_ENABLE();
  __HAL_RCC_GPIOC_CLK_ENABLE();
  __HAL_RCC_GPIOF_CLK_ENABLE();
  __HAL_RCC_GPIOA_CLK_ENABLE();
  __HAL_RCC_GPIOB_CLK_ENABLE();
  __HAL_RCC_GPIOD_CLK_ENABLE();
  __HAL_RCC_GPIOG_CLK_ENABLE();

  /*Configure GPIO pin Output Level */
  HAL_GPIO_WritePin(GPIOE, GPIO_PIN_5, GPIO_PIN_RESET);

  /*Configure GPIO pin Output Level */
  HAL_GPIO_WritePin(GPIOB, GPIO_PIN_0|GPIO_PIN_5|GPIO_PIN_8, GPIO_PIN_RESET);

  /*Configure GPIO pins : PE3 PE4 */
  GPIO_InitStruct.Pin = GPIO_PIN_3|GPIO_PIN_4;
  GPIO_InitStruct.Mode = GPIO_MODE_IT_FALLING;
  GPIO_InitStruct.Pull = GPIO_PULLUP;
  HAL_GPIO_Init(GPIOE, &GPIO_InitStruct);

  /*Configure GPIO pin : PE5 */
  GPIO_InitStruct.Pin = GPIO_PIN_5;
  GPIO_InitStruct.Mode = GPIO_MODE_OUTPUT_PP;
  GPIO_InitStruct.Pull = GPIO_NOPULL;
  GPIO_InitStruct.Speed = GPIO_SPEED_FREQ_LOW;
  HAL_GPIO_Init(GPIOE, &GPIO_InitStruct);

  /*Configure GPIO pin : PF8 */
  GPIO_InitStruct.Pin = GPIO_PIN_8;
  GPIO_InitStruct.Mode = GPIO_MODE_ANALOG;
  HAL_GPIO_Init(GPIOF, &GPIO_InitStruct);

  /*Configure GPIO pin : PF10 */
  GPIO_InitStruct.Pin = GPIO_PIN_10;
  GPIO_InitStruct.Mode = GPIO_MODE_IT_FALLING;
  GPIO_InitStruct.Pull = GPIO_PULLUP;
  HAL_GPIO_Init(GPIOF, &GPIO_InitStruct);

  /*Configure GPIO pin : PA0 */
  GPIO_InitStruct.Pin = GPIO_PIN_0;
  GPIO_InitStruct.Mode = GPIO_MODE_IT_RISING;
  GPIO_InitStruct.Pull = GPIO_PULLDOWN;
  HAL_GPIO_Init(GPIOA, &GPIO_InitStruct);

  /*Configure GPIO pins : PB0 PB5 PB8 */
  GPIO_InitStruct.Pin = GPIO_PIN_0|GPIO_PIN_5|GPIO_PIN_8;
  GPIO_InitStruct.Mode = GPIO_MODE_OUTPUT_PP;
  GPIO_InitStruct.Pull = GPIO_NOPULL;
  GPIO_InitStruct.Speed = GPIO_SPEED_FREQ_LOW;
  HAL_GPIO_Init(GPIOB, &GPIO_InitStruct);

  /* EXTI interrupt init*/
  HAL_NVIC_SetPriority(EXTI0_IRQn, 6, 0);
  HAL_NVIC_EnableIRQ(EXTI0_IRQn);

  HAL_NVIC_SetPriority(EXTI3_IRQn, 7, 0);
  HAL_NVIC_EnableIRQ(EXTI3_IRQn);

  HAL_NVIC_SetPriority(EXTI4_IRQn, 8, 0);
  HAL_NVIC_EnableIRQ(EXTI4_IRQn);

  HAL_NVIC_SetPriority(EXTI15_10_IRQn, 6, 0);
  HAL_NVIC_EnableIRQ(EXTI15_10_IRQn);

  /* USER CODE BEGIN MX_GPIO_Init_2 */

	HAL_GPIO_WritePin(GPIOB, GPIO_PIN_0, GPIO_PIN_SET); // Turn on LED Screen back light

	/* Beep*/
	//HAL_GPIO_WritePin(BEEP_PORT, BEEP_PIN, GPIO_PIN_SET); // �??????
	HAL_Delay(BEEP_SHORT_BEEP_TIME);
	HAL_GPIO_WritePin(BEEP_PORT, BEEP_PIN, GPIO_PIN_RESET); // �??????

	HAL_GPIO_WritePin(PB5_LED_PORT, PB5_LED_PIN, GPIO_PIN_RESET); //PB5 Red LED

	last_tick = HAL_GetTick();
  /* USER CODE END MX_GPIO_Init_2 */
}

/* FSMC initialization function */
static void MX_FSMC_Init(void)
{

  FSMC_NORSRAM_TimingTypeDef Timing = {0};

  /** Perform the SRAM1 memory initialization sequence
  */
  hsram1.Instance = FSMC_NORSRAM_DEVICE;
  hsram1.Extended = FSMC_NORSRAM_EXTENDED_DEVICE;
  /* hsram1.Init */
  hsram1.Init.NSBank = FSMC_NORSRAM_BANK4;
  hsram1.Init.DataAddressMux = FSMC_DATA_ADDRESS_MUX_DISABLE;
  hsram1.Init.MemoryType = FSMC_MEMORY_TYPE_SRAM;
  hsram1.Init.MemoryDataWidth = FSMC_NORSRAM_MEM_BUS_WIDTH_16;
  hsram1.Init.BurstAccessMode = FSMC_BURST_ACCESS_MODE_DISABLE;
  hsram1.Init.WaitSignalPolarity = FSMC_WAIT_SIGNAL_POLARITY_LOW;
  hsram1.Init.WrapMode = FSMC_WRAP_MODE_DISABLE;
  hsram1.Init.WaitSignalActive = FSMC_WAIT_TIMING_BEFORE_WS;
  hsram1.Init.WriteOperation = FSMC_WRITE_OPERATION_ENABLE;
  hsram1.Init.WaitSignal = FSMC_WAIT_SIGNAL_DISABLE;
  hsram1.Init.ExtendedMode = FSMC_EXTENDED_MODE_DISABLE;
  hsram1.Init.AsynchronousWait = FSMC_ASYNCHRONOUS_WAIT_DISABLE;
  hsram1.Init.WriteBurst = FSMC_WRITE_BURST_DISABLE;
  /* Timing */
  Timing.AddressSetupTime = 15;
  Timing.AddressHoldTime = 15;
  Timing.DataSetupTime = 255;
  Timing.BusTurnAroundDuration = 15;
  Timing.CLKDivision = 16;
  Timing.DataLatency = 17;
  Timing.AccessMode = FSMC_ACCESS_MODE_A;
  /* ExtTiming */

  if (HAL_SRAM_Init(&hsram1, &Timing, NULL) != HAL_OK)
  {
    Error_Handler( );
  }

  /** Disconnect NADV
  */

  __HAL_AFIO_FSMCNADV_DISCONNECTED();

}

void StartDefaultTask(void *argument)
{
  /* init code for USB_DEVICE */
  MX_USB_DEVICE_Init();
  /* USER CODE BEGIN 5 */
	/* Infinite loop */
  timerCommandTaskHandle = osThreadGetId();
	for (;;)
	{
		osThreadFlagsWait(0x0001, osFlagsWaitAny, osWaitForever);
		if (osTimerIsRunning(timer_id) || led_mode == LED_ON || led_mode == LED_OFF) {
		    osTimerStop(timer_id);
		} else {
		    osTimerStart(timer_id, 500); // 0 表示使用创建时设置的周期
		}

	}

  /* USER CODE END 5 */
}

void HAL_TIM_PeriodElapsedCallback(TIM_HandleTypeDef *htim)
{
  if (htim->Instance == TIM7)
  {
    HAL_IncTick();
  }
  /* USER CODE BEGIN Callback 1 */
	if (htim->Instance == TIM4) {
		if (g_remote_sta & 0x80) /* �ϴ������ݱ����յ��� */
		{
			g_remote_sta &= ~0X10; /* ȡ���������Ѿ��������� */

			if ((g_remote_sta & 0X0F) == 0X00) {
				g_remote_sta |= 1 << 6; /* ����Ѿ����һ�ΰ����ļ�ֵ��Ϣ�ɼ� */
				//osSemaphoreRelease(remoteSemaphore);

			}

			if ((g_remote_sta & 0X0F) < 14) {
				g_remote_sta++;
			} else {
				g_remote_sta &= ~(1 << 7); /* ���������ʶ */
				g_remote_sta &= 0XF0; /* ��ռ����� */
			}
		}
	}
  /* USER CODE END Callback 1 */
}

void Error_Handler(void)
{
	__disable_irq();
	while (1) {
	}
}

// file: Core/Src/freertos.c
/* USER CODE BEGIN Header */
/**
  ******************************************************************************
  * File Name          : freertos.c
  * Description        : Code for freertos applications
  ******************************************************************************
  * @attention
  *
  * Copyright (c) 2025 STMicroelectronics.
  * All rights reserved.
  *
  * This software is licensed under terms that can be found in the LICENSE file
  * in the root directory of this software component.
  * If no LICENSE file comes with this software, it is provided AS-IS.
  *
  ******************************************************************************
  */
/* USER CODE END Header */

#include "FreeRTOS.h"
#include "task.h"
#include "main.h"

/* USER CODE BEGIN Includes */
#include "cmsis_os.h"
#include "fatfs.h"
/* USER CODE END Includes */

/* USER CODE BEGIN PD */
osThreadId_t remoteTaskHandle;
const osThreadAttr_t remoteTask_attributes = {
    .name = "remoteTask",
    .priority = (osPriority_t) osPriorityNormal,
    .stack_size = 256 * 8
};

osThreadId_t dogTaskHandle;
const osThreadAttr_t dogTask_attributes = {
    .name = "dogTask",
    .priority = (osPriority_t) osPriorityHigh,
    .stack_size = 256 * 4
};

osThreadId_t infoTaskHandle;
const osThreadAttr_t infoTask_attributes = {
    .name = "infoTask",
    .priority = (osPriority_t) osPriorityNormal,
    .stack_size = 256 * 8
};

osThreadId_t touchTaskHandle;
const osThreadAttr_t touchTask_attributes = {
    .name = "touchTask",
    .priority = (osPriority_t) osPriorityNormal,
    .stack_size = 256 * 4
};

osThreadId_t uartTaskHandle;
const osThreadAttr_t uartTask_attributes = {
    .name = "uartTask",
    .priority = (osPriority_t) osPriorityNormal,
    .stack_size = 256 * 4
};

osThreadId_t saveTaskHandle;
const osThreadAttr_t saveTask_attributes = {
    .name = "saveTask",
    .priority = (osPriority_t) osPriorityHigh,
    .stack_size = 128 * 4
};

// 监控任务自己的句柄
osThreadId_t monitorTaskHandle;
const osThreadAttr_t monitorTask_attributes = {
    .name = "monitorTask",
    .priority = (osPriority_t) osPriorityNormal, // 低优先级，不影响关键任务
    .stack_size = 256 * 4 // 512字节，足够它运行
};

osThreadId_t idleTaskHandle;
const osThreadAttr_t idleTask_attributes = {
	    .name = "IdleSimTask",
	    .priority = (osPriority_t) osPriorityLow, // 低优先级，不影响关键任务
	    .stack_size = 128 * 4 // 512字节，足够它运行
	};;

uint8_t tx_e3 = 0xE3;
uint8_t tx_e4 = 0xE4;
uint8_t tx_a0 = 0xA0;

volatile uint8_t tx_request_byte = 0;

osMessageQueueId_t uartQueue;
osSemaphoreId_t remoteSemaphore;
osSemaphoreId_t touchSem;

FATFS fs;     // 文件系统对象
FIL fil;      // 文件对象
DIR dir;      // 目录对象
FILINFO fno;  // 文件信息
FRESULT res;  // 返回结果

uint8_t close_red = 0;  // 改为全局变量
char strrand[16];
unsigned char hash_output[64];

/* USER CODE END PD */

/* USER CODE BEGIN Variables */
extern ADC_HandleTypeDef hadc1;
extern ADC_HandleTypeDef hadc3;

extern I2C_HandleTypeDef hi2c1;

extern IWDG_HandleTypeDef hiwdg;

extern RTC_HandleTypeDef hrtc;

extern SPI_HandleTypeDef hspi2;

extern TIM_HandleTypeDef htim2;
extern TIM_HandleTypeDef htim4;

extern UART_HandleTypeDef huart1;

extern SRAM_HandleTypeDef hsram1;

extern osThreadId_t defaultTaskHandle;
extern const osThreadAttr_t defaultTask_attributes;

uart_msg_t msg;
volatile uint32_t idleTicks = 0;     // 空闲钩子计数
volatile uint32_t cpuUsage = 0;      // CPU 使用率百分比
const uint32_t idleTicksMaxPer10s = 1000000; // 10秒空闲计数最大值（需实验调整）

/* USER CODE END Variables */

/* Hook prototypes */
void vApplicationIdleHook(void);
void vApplicationStackOverflowHook(xTaskHandle xTask, signed char *pcTaskName);
void vApplicationMallocFailedHook(void);

/* USER CODE BEGIN 2 */
void vApplicationIdleHook(void) __attribute__((noinline));
void vApplicationIdleHook(void)
{
	//idleTicks++;
}
/* USER CODE END 2 */

/* USER CODE BEGIN 4 */
void vApplicationStackOverflowHook(xTaskHandle xTask, signed char *pcTaskName)
{
    (void) xTask; // 消除未使用变量的警告
    taskENTER_CRITICAL();
    lcd_show_string(130, 10, 240, 16, 16, "==STACK OVERFLOW DETECTED!!", RED);
    taskEXIT_CRITICAL();

   /* Run time stack overflow checking is performed if
   configCHECK_FOR_STACK_OVERFLOW is defined to 1 or 2. This hook function is
   called if a stack overflow is detected. */
}
/* USER CODE END 4 */

/* USER CODE BEGIN 5 */
void vApplicationMallocFailedHook(void)
{
   /* vApplicationMallocFailedHook() will only be called if
   configUSE_MALLOC_FAILED_HOOK is set to 1 in FreeRTOSConfig.h. It is a hook
   function that will get called if a call to pvPortMalloc() fails.
   pvPortMalloc() is called internally by the kernel whenever a task, queue,
   timer or semaphore is created. It is also called by various parts of the
   demo application. If heap_1.c or heap_2.c are used, then the size of the
   heap available to pvPortMalloc() is defined by configTOTAL_HEAP_SIZE in
   FreeRTOSConfig.h, and the xPortGetFreeHeapSize() API function can be used
   to query the size of free heap space that remains (although it does not
   provide information on how the remaining heap might be fragmented). */
}
/* USER CODE END 5 */

/* USER CODE BEGIN Application */
void IdleSimTask(void *argument)
{
	uint32_t i = 1;
	TickType_t now_ticks = xTaskGetTickCount();
	uint32_t start_s = now_ticks * portTICK_PERIOD_MS /1000;
	uint32_t end_s;
    for (;;)
    {
    	TickType_t end_ticks = xTaskGetTickCount();
    	uint32_t end_s = end_ticks * portTICK_PERIOD_MS /1000;

    	uint32_t errsnu = end_s - start_s;

    	lcd_show_xnum(190, 170, i * 100U / errsnu, 3, 16, 0, BLUE);
    	i++;
        osDelay(1000);         // 延时1ms，避免完全占CPU
    }
}

void split_hash_to_hex_strings(unsigned char *hash_output, char *str1, char *str2, char *str3, char *str4, char *str5) {
    for (int i = 0; i < 14; i++) {
        sprintf(&str1[i * 2], "%02x", hash_output[i]);
    }
    for (int i = 0; i < 14; i++) {
        sprintf(&str2[i * 2], "%02x", hash_output[i + 14]);
    }
    for (int i = 0; i < 14; i++) {
        sprintf(&str3[i * 2], "%02x", hash_output[i + 28]);
    }
    for (int i = 0; i < 14; i++) {
        sprintf(&str4[i * 2], "%02x", hash_output[i + 42]);
    }
    for (int i = 0; i < 8; i++) {
        sprintf(&str5[i * 2], "%02x", hash_output[i + 56]);
    }

}

void delay_us(uint32_t nus)
{
    uint32_t start = __HAL_TIM_GET_COUNTER(&htim2);
    while ((__HAL_TIM_GET_COUNTER(&htim2) - start) < nus)
    {
        // 等待
    }
}

void delay_ms(uint16_t nms)
{

    delay_us((uint32_t)(nms * 1000));
}

// 设置日期和时�???
void Set_RTC_DateTime(uint8_t year, uint8_t month, uint8_t day, uint8_t hour, uint8_t minute, uint8_t second)
{
    RTC_DateTypeDef sDate = {0};
    RTC_TimeTypeDef sTime = {0};

    sDate.Year = year;
    sDate.Month = month;
    sDate.Date = day;
    sDate.WeekDay = RTC_WEEKDAY_MONDAY; // 根据实际情况设置

    sTime.Hours = hour;
    sTime.Minutes = minute;
    sTime.Seconds = second;
    //sTime.SubSeconds = 0;
    //sTime.DayLightSaving = RTC_DAYLIGHTSAVING_NONE;
    //sTime.StoreOperation = RTC_STOREOPERATION_RESET;

    if (HAL_RTC_SetDate(&hrtc, &sDate, RTC_FORMAT_BIN) != HAL_OK)
    {
        Error_Handler();
    }

    if (HAL_RTC_SetTime(&hrtc, &sTime, RTC_FORMAT_BIN) != HAL_OK)
    {
        Error_Handler();
    }
}

// 获取当前日期和时�???
void Get_RTC_DateTime(uint8_t *year, uint8_t *month, uint8_t *day,
                      uint8_t *hour, uint8_t *minute, uint8_t *second)
{
    RTC_DateTypeDef sDate = {0};
    RTC_TimeTypeDef sTime = {0};

    HAL_RTC_GetTime(&hrtc, &sTime, RTC_FORMAT_BIN);
    HAL_RTC_GetDate(&hrtc, &sDate, RTC_FORMAT_BIN);

    *year = sDate.Year;
    *month = sDate.Month;
    *day = sDate.Date;
    *hour = sTime.Hours;
    *minute = sTime.Minutes;
    *second = sTime.Seconds;
}

int main2() {
    WHIRLPOOL_CTX ctx;
    char str1[29] = {0}; char str2[29] = {0}; char str3[29] = {0}; char str4[29] = {0}; char str5[17] = {0};

    // Initial Whirlpool CTX
    WHIRLPOOL_init(&ctx);

    // Input Process
    WHIRLPOOL_add((const unsigned char *)strrand, strlen(strrand), &ctx);

    // Compute value
    WHIRLPOOL_finalize(&ctx, hash_output);
    split_hash_to_hex_strings(hash_output, str1, str2, str3, str4, str5);
    taskENTER_CRITICAL();
    lcd_show_string(170, 10, 240, 16, 16, strrand, RED);
    lcd_show_string(10, 30, 240, 16, 16, str1, RED);
    //lcd_show_string(10, 50, 240, 16, 16, str2, RED);
    //lcd_show_string(10, 70, 240, 16, 16, str3, RED);
    //lcd_show_string(10, 90, 240, 16, 16, str4, RED);
    //lcd_show_string(10, 110, 240, 16, 16, str5, RED);
    taskEXIT_CRITICAL();
    return 0;
}

void monitorTask(void *argument)
{
    char cLineBuffer[4][32]; // 每行显示缓冲区

    for (;;)
    {
        // 获取每个任务的栈剩余空间（单位：word）
        UBaseType_t remoteStack = uxTaskGetStackHighWaterMark(remoteTaskHandle);
        UBaseType_t dogStack = uxTaskGetStackHighWaterMark(dogTaskHandle);
        UBaseType_t infoStack = uxTaskGetStackHighWaterMark(infoTaskHandle);
        UBaseType_t touchStack = uxTaskGetStackHighWaterMark(touchTaskHandle);
        UBaseType_t uartStack = uxTaskGetStackHighWaterMark(uartTaskHandle);
        UBaseType_t saveStack = uxTaskGetStackHighWaterMark(saveTaskHandle);
        UBaseType_t monitorStack = uxTaskGetStackHighWaterMark(monitorTaskHandle);
        UBaseType_t defaultStack = uxTaskGetStackHighWaterMark(defaultTaskHandle);

        // 栈总大小（单位：word）
        const UBaseType_t remoteTotal = remoteTask_attributes.stack_size / sizeof(StackType_t);
        const UBaseType_t dogTotal = dogTask_attributes.stack_size / sizeof(StackType_t);
        const UBaseType_t infoTotal = infoTask_attributes.stack_size / sizeof(StackType_t);
        const UBaseType_t touchTotal = touchTask_attributes.stack_size / sizeof(StackType_t);
        const UBaseType_t uartTotal = uartTask_attributes.stack_size / sizeof(StackType_t);
        const UBaseType_t saveTotal = saveTask_attributes.stack_size / sizeof(StackType_t);
        const UBaseType_t monitorTotal = monitorTask_attributes.stack_size / sizeof(StackType_t);
        const UBaseType_t defaultTotal = defaultTask_attributes.stack_size / sizeof(StackType_t);

        // 使用量 = 总栈 - 剩余栈
        snprintf(cLineBuffer[0], sizeof(cLineBuffer[0]), "rm:%02d/%02d  dg:%02d/%02d",
                 remoteTotal - remoteStack, remoteTotal,
                 dogTotal - dogStack, dogTotal);

        snprintf(cLineBuffer[1], sizeof(cLineBuffer[1]), "if:%02d/%02d  tc:%02d/%02d",
                 infoTotal - infoStack, infoTotal,
                 touchTotal - touchStack, touchTotal);

        snprintf(cLineBuffer[2], sizeof(cLineBuffer[2]), "ua:%02d/%02d  sv:%02d/%02d",
                 uartTotal - uartStack, uartTotal,
                 saveTotal - saveStack, saveTotal);

        snprintf(cLineBuffer[3], sizeof(cLineBuffer[3]), "mn:%02d/%02d  df:%02d/%02d",
                 monitorTotal - monitorStack, monitorTotal,
				 defaultTotal - defaultStack, defaultTotal);

        // LCD显示
    	taskENTER_CRITICAL();
        lcd_show_string(10, 50, 240, 16, 16, cLineBuffer[0], RED);
        lcd_show_string(10, 70, 240, 16, 16, cLineBuffer[1], RED);
        lcd_show_string(10, 90, 240, 16, 16, cLineBuffer[2], RED);
        lcd_show_string(10, 110, 240, 16, 16, cLineBuffer[3], RED);
        taskEXIT_CRITICAL();
        display_ram_info();

        osDelay(5000); // 5秒更新一次
    }
}
void dogTask(void *argument){
	for (;;){
        HAL_IWDG_Refresh(&hiwdg);
        osDelay(1000);
	}
}

void saveTask(void *argument){
	for (;;){
		norflash_sync();
		osDelay(60000);
	}

}
void infoTask(void *argument)
{
    uint8_t year, month, day, hour, minute, second;
    uint16_t adcValue = 0;
    uint32_t cpu_freq = 0;
    float vref = 3.3f;
    float vsense, temperature;
    short adcx;
    char str[12] = "0.00";
    char datetime[25] = {0};

    // 初始化显示
    lcd_show_string(10, 170, 240, 16, 16, "----/--/-- --:--:--", RED);
    lcd_show_string(150, 190, 240, 16, 16, str, BLUE);
    lcd_show_xnum(90, 190, 0, 3, 16, 0, BLUE);
    lcd_show_xnum(200, 190, 0, 3, 16, 0, BLUE);

    TickType_t lastRtcUpdate = 0;
    TickType_t lastTempUpdate = 0;
    TickType_t lastCpuUpdate = 0;
    uint32_t lastIdleTicks = 0;

    for (;;)
    {
        TickType_t currentTime = osKernelGetTickCount();

        // 1. 实时更新光敏传感器（每次循环）

        // 非阻塞获取光敏传感器值
        adcx = lsens_get_val();
        lcd_show_xnum(90, 190, adcx, 3, 16, 0, BLUE);

        // 2. 每秒更新RTC时间
        if (currentTime - lastRtcUpdate >= 1000)
        {
            lastRtcUpdate = currentTime;
            Get_RTC_DateTime(&year, &month, &day, &hour, &minute, &second);
            snprintf(datetime, sizeof(datetime), "%04d-%02d-%02d %02d:%02d:%02d",
                    (int)year + 1970, (int)month, (int)day, (int)hour, (int)minute, (int)second);
            lcd_show_string(10, 170, 240, 16, 16, datetime, RED);
        }

        // 3. 每10秒更新温度
        if (currentTime - lastTempUpdate >= 10000)
        {
            lastTempUpdate = currentTime;
            HAL_ADC_Start(&hadc1);
            if (HAL_ADC_PollForConversion(&hadc1, 5) == HAL_OK) {
                adcValue = HAL_ADC_GetValue(&hadc1);
                vsense = (adcValue * vref) / 4095.0f;
                temperature = ((1.43f - vsense) / 0.0043f) + 25.0f;
                snprintf(str, sizeof(str), "%.2f", temperature);
                lcd_show_string(150, 190, 240, 16, 16, str, BLUE);
            }
        }

        // 4. 每20秒更新CPU频率
        if (currentTime - lastCpuUpdate >= 20000)
        {
        	lastCpuUpdate = currentTime;
        	cpu_freq = HAL_RCC_GetSysClockFreq();
        	lcd_show_xnum(200, 190, cpu_freq / 1000000, 3, 16, 0, BLUE);

        }

        osDelay(500);
    }
}

void touchTask(void *argument)
{
    for(;;)
    {
        if(osSemaphoreAcquire(touchSem, osWaitForever) == osOK)
        {
            tp_dev.scan(0);

            if(tp_dev.sta & TP_PRES_DOWN)
            {
                tp_draw_big_point(tp_dev.x[0], tp_dev.y[0], RED);

                taskENTER_CRITICAL();
                lcd_show_string(10, 210, 200, 16, 16, "Screen Touched!", RED);
                taskEXIT_CRITICAL();

                if(tp_dev.x[0] >10 && tp_dev.x[0] < 200 && tp_dev.y[0] > 200 && tp_dev.y[0] < 230)
                {
                    lcd_show_string(10, 210, 200, 16, 16, "Remove Status!!", RED);
                }
            }
        }
    }
}
void uartTask(void *argument)
{
    // 启动第一次接收
    HAL_UART_Receive_IT(&huart1, &close_red, 1);

    uart_msg_t msg;

    for (;;)
    {
        // 等待消息
        osMessageQueueGet(uartQueue, &msg, NULL, osWaitForever);

        if (msg.type == 0) // RX数据
        {
            if (msg.data == 0xCC) {
                HAL_GPIO_WritePin(GPIOB, GPIO_PIN_5, GPIO_PIN_SET);
            } else if (msg.data == 0xDD) {
                HAL_GPIO_WritePin(GPIOB, GPIO_PIN_5, GPIO_PIN_RESET);
            } else if (msg.data == 0xEE) {
                lcd_show_string(10, 210, 200, 16, 16, "Reverted!      ", RED);
            }
        }
        else if (msg.type == 1) // TX请求
        {
            HAL_UART_Transmit(&huart1, &msg.data, 1, 100);
        }
    }
}
void RemoteTask(void *argument)
{
    uint8_t key;
    uint8_t index = 0;
    uint8_t lastKey = 0;
    uint32_t lastTick = 0;  // 记录上次有效按键时间

    for (;;)
    {
        // 等待红外解码完成
        osSemaphoreAcquire(remoteSemaphore, osWaitForever);

        // 获取解码结果
        key = remote_scan();

        if (key == 0) {
            continue; // 无效按键，直接丢弃
        }
        uint32_t now = osKernelGetTickCount();
        // 如果和上次是同一个键，并且间隔 < 300ms，则丢弃
        if ((key == lastKey && (now - lastTick) < 2000) || (now - lastTick) < 300) {
            continue;
        }

        lastKey = key;
        lastTick = now;

        const char *str = NULL;
        taskENTER_CRITICAL();
        switch(key)
        {
            case 22: str = "1"; lcd_show_string(10, 10, 240, 16, 16, "Key 1 Pressed", RED); break;
            case 25: str = "2"; lcd_show_string(10, 10, 240, 16, 16, "Key 2 Pressed", RED); break;
            case 13: str = "3"; lcd_show_string(10, 10, 240, 16, 16, "Key 3 Pressed", RED); break;
            case 12: str = "4"; lcd_show_string(10, 10, 240, 16, 16, "Key 4 Pressed", RED); break;
            case 24: str = "5"; lcd_show_string(10, 10, 240, 16, 16, "Key 5 Pressed", RED); break;
            case 94: str = "6"; lcd_show_string(10, 10, 240, 16, 16, "Key 6 Pressed", RED); break;
            case 8:  str = "7"; lcd_show_string(10, 10, 240, 16, 16, "Key 7 Pressed", RED); break;
            case 28: str = "8"; lcd_show_string(10, 10, 240, 16, 16, "Key 8 Pressed", RED); break;
            case 90: str = "9"; lcd_show_string(10, 10, 240, 16, 16, "Key 9 Pressed", RED); break;
            case 66: str = "0"; lcd_show_string(10, 10, 240, 16, 16, "Key 0 Pressed", RED); break;
            case 64: // Enter
                strrand[index] = '\0';
                if (strrand[0] != '\0') main2();
                index = 0;
                break;
            default:
                lcd_show_string(10, 10, 240, 16, 16, "NO INPUT", RED);
                break;
        }
        taskEXIT_CRITICAL();

        // 如果是数字键，并且未超过 8 位
        if(str != NULL && index < 8)
        {
            strcpy(&strrand[index], str);
            index++;
            strrand[index] = '\0';
        }
    }
}

/* USER CODE END Application */
